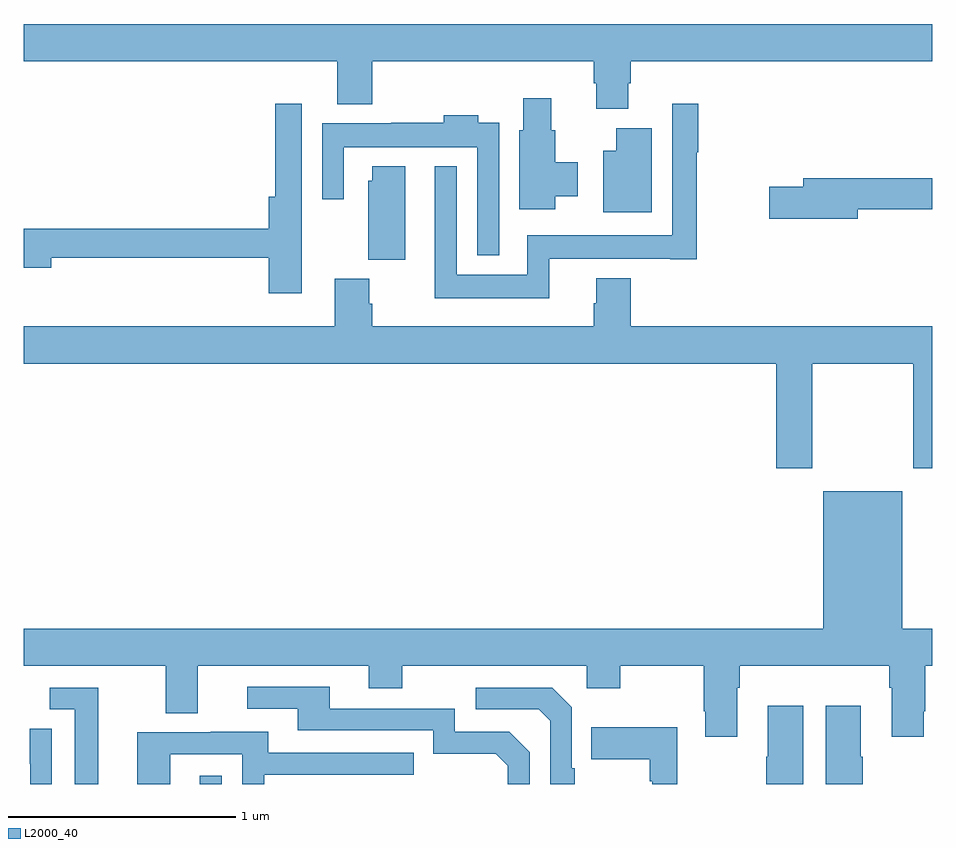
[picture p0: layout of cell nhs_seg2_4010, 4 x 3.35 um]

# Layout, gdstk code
import gdstk
lib = gdstk.Library(unit=1e-6, precision=1e-09)
def R(c, l, rs):  # rectangles x0, y0, x1, y1
    for r in rs: c.add(gdstk.rectangle(r[:2], r[2:], *l))
def P(c, l, *ps):  # polygons
    for p in ps: c.add(gdstk.Polygon(p, *l))
L2000_40 = (2000, 40)

nhs_seg2_4010 = lib.new_cell('nhs_seg2_4010')
R(nhs_seg2_4010, L2000_40, [(325.775,629.8,325.872,629.836)])
P(nhs_seg2_4010, L2000_40, [(327.661,632.886),(327.674,632.886),(327.674,632.984),(329,632.984),(329,633.148),(325,633.148),(325,632.984),(326.381,632.984),(326.381,632.795),(326.534,632.795),(326.534,632.984),(327.509,632.984),(327.509,632.886),(327.521,632.886),(327.521,632.774),(327.661,632.774)],
  [(327.34,632.39),(327.439,632.39),(327.439,632.538),(327.34,632.538),(327.34,632.679),(327.322,632.679),(327.322,632.821),(327.2,632.821),(327.2,632.679),(327.182,632.679),(327.182,632.331),(327.34,632.331)],
  [(326.224,632.223),(326.223,632.223),(326.223,632.797),(326.107,632.797),(326.107,632.386),(326.078,632.386),(326.078,632.246),(325,632.246),(325,632.075),(325.12,632.075),(325.12,632.118),(326.078,632.118),(326.078,631.962),(326.224,631.962)],
  [(327.314,632.114),(327.848,632.114),(327.848,632.112),(327.964,632.112),(327.964,632.584),(327.971,632.584),(327.971,632.797),(327.855,632.797),(327.855,632.218),(327.216,632.218),(327.216,632.044),(326.907,632.044),(326.907,632.521),(326.81,632.521),(326.81,631.94),(327.314,631.94)],
  [(327.093,632.713),(327.001,632.713),(327.001,632.746),(326.849,632.746),(326.849,632.713),(326.617,632.713),(326.617,632.71),(326.313,632.71),(326.313,632.376),(326.409,632.376),(326.409,632.606),(326.997,632.606),(326.997,632.129),(327.093,632.129)],
  [(327.766,632.689),(327.608,632.689),(327.608,632.59),(327.551,632.59),(327.551,632.318),(327.766,632.318)],
  [(326.68,632.521),(326.534,632.521),(326.534,632.457),(326.516,632.457),(326.516,632.11),(326.68,632.11)],
  [(328.672,632.332),(329,632.332),(329,632.468),(328.433,632.468),(328.433,632.432),(328.284,632.432),(328.284,632.29),(328.672,632.29)],
  [(328.473,631.652),(328.918,631.652),(328.918,631.191),(329,631.191),(329,631.816),(327.674,631.816),(327.674,632.029),(327.521,632.029),(327.521,631.917),(327.509,631.917),(327.509,631.816),(326.534,631.816),(326.534,631.916),(326.521,631.916),(326.521,632.025),(326.369,632.025),(326.369,631.816),(325,631.816),(325,631.652),(328.313,631.652),(328.313,631.191),(328.473,631.191)],
  [(328.141,630.224),(328.154,630.224),(328.154,630.32),(328.811,630.32),(328.811,630.224),(328.823,630.224),(328.823,630.009),(328.963,630.009),(328.963,630.121),(328.971,630.121),(328.971,630.32),(329,630.32),(329,630.484),(328.87,630.484),(328.87,631.09),(328.52,631.09),(328.52,630.484),(325,630.484),(325,630.32),(325.625,630.32),(325.625,630.112),(325.765,630.112),(325.765,630.32),(326.519,630.32),(326.519,630.221),(326.667,630.221),(326.667,630.32),(327.48,630.32),(327.48,630.221),(327.627,630.221),(327.627,630.32),(327.994,630.32),(327.994,630.121),(328.001,630.121),(328.001,630.009),(328.141,630.009)],
  [(327.228,629.94),(327.138,630.03),(326.898,630.03),(326.898,630.132),(326.347,630.132),(326.347,630.228),(325.983,630.228),(325.983,630.132),(326.207,630.132),(326.207,630.036),(326.802,630.036),(326.802,629.933),(327.079,629.933),(327.132,629.88),(327.132,629.8),(327.228,629.8)],
  [(327.427,629.869),(327.414,629.869),(327.414,630.138),(327.327,630.225),(326.991,630.225),(326.991,630.129),(327.267,630.129),(327.318,630.078),(327.318,629.8),(327.427,629.8)],
  [(325.327,630.225),(325.113,630.225),(325.113,630.129),(325.223,630.129),(325.223,629.8),(325.327,629.8)],
  [(328.695,629.921),(328.687,629.921),(328.687,630.145),(328.532,630.145),(328.532,629.8),(328.695,629.8)],
  [(328.432,630.145),(328.277,630.145),(328.277,629.921),(328.27,629.921),(328.27,629.8),(328.432,629.8)],
  [(327.877,630.049),(327.499,630.049),(327.499,629.909),(327.756,629.909),(327.756,629.813),(327.768,629.813),(327.768,629.8),(327.877,629.8)],
  [(325.122,630.044),(325.026,630.044),(325.026,629.89),(325.028,629.89),(325.028,629.8),(325.122,629.8)],
  [(325.644,629.931),(325.962,629.931),(325.962,629.8),(326.058,629.8),(326.058,629.841),(326.717,629.841),(326.717,629.937),(326.077,629.937),(326.077,630.031),(325.823,630.031),(325.823,630.027),(325.499,630.027),(325.499,629.8),(325.644,629.8)])

lib.write_gds('nhs_seg2_4010.gds')
